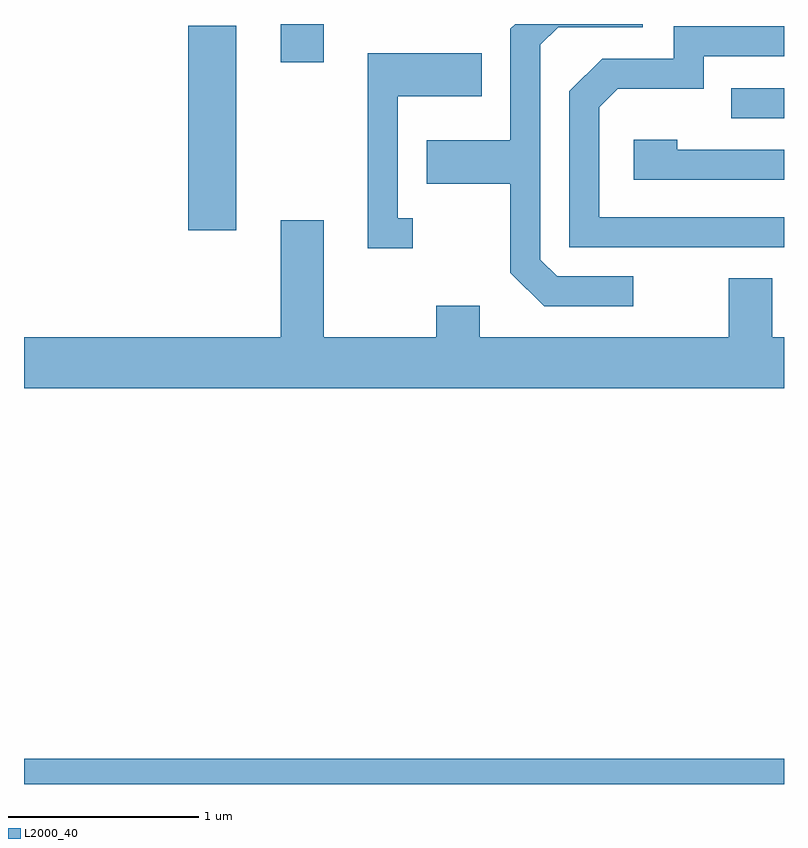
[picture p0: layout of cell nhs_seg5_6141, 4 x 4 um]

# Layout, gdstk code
import gdstk
lib = gdstk.Library(unit=1e-6, precision=1e-09)
def R(c, l, rs):  # rectangles x0, y0, x1, y1
    for r in rs: c.add(gdstk.rectangle(r[:2], r[2:], *l))
def P(c, l, *ps):  # polygons
    for p in ps: c.add(gdstk.Polygon(p, *l))
L2000_40 = (2000, 40)

nhs_seg5_6141 = lib.new_cell('nhs_seg5_6141')
R(nhs_seg5_6141, L2000_40, [(367.611,1428.072,371.611,1428.204), (368.476,1430.986,368.729,1432.064), (371.333,1431.576,371.611,1431.734), (368.961,1431.871,369.189,1432.072)])
P(nhs_seg5_6141, L2000_40, [(370.818,1430.744),(370.417,1430.744),(370.329,1430.832),(370.329,1431.964),(370.422,1432.056),(370.868,1432.056),(370.868,1432.072),(370.196,1432.072),(370.171,1432.047),(370.171,1431.459),(369.731,1431.459),(369.731,1431.231),(370.171,1431.231),(370.171,1430.764),(370.349,1430.586),(370.818,1430.586)],
  [(371.611,1431.054),(370.639,1431.054),(370.639,1431.634),(370.737,1431.731),(371.189,1431.731),(371.189,1431.901),(371.611,1431.901),(371.611,1432.059),(371.031,1432.059),(371.031,1431.889),(370.654,1431.889),(370.481,1431.717),(370.481,1430.896),(371.611,1430.896)],
  [(369.658,1431.049),(369.579,1431.049),(369.579,1431.691),(370.019,1431.691),(370.019,1431.919),(369.421,1431.919),(369.421,1430.891),(369.658,1430.891)],
  [(371.611,1431.409),(371.049,1431.409),(371.049,1431.464),(370.821,1431.464),(370.821,1431.251),(371.611,1431.251)],
  [(371.611,1430.424),(371.549,1430.424),(371.549,1430.734),(371.321,1430.734),(371.321,1430.424),(370.009,1430.424),(370.009,1430.589),(369.781,1430.589),(369.781,1430.424),(369.189,1430.424),(369.189,1431.039),(368.961,1431.039),(368.961,1430.424),(367.611,1430.424),(367.611,1430.156),(371.611,1430.156)])

lib.write_gds('nhs_seg5_6141.gds')
